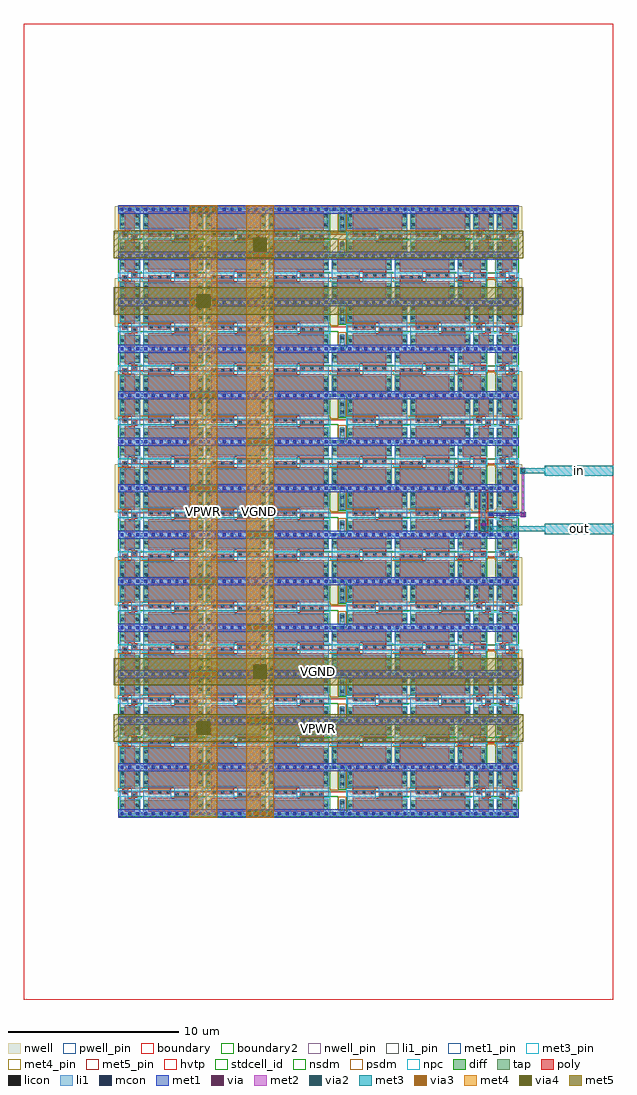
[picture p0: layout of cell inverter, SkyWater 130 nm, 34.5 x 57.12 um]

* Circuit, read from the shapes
.subckt inverter VGND VPWR in out
XM1 VGND VPWR VGND VGND sky130_fd_pr__nfet_01v8 w=0.55 l=0.59 m=32
XM2 VGND VPWR VGND VGND sky130_fd_pr__nfet_01v8 w=0.55 l=2.89 m=65
XM3 VGND VPWR VGND VGND sky130_fd_pr__nfet_01v8 w=0.55 l=1.05 m=6
XM4 out in VGND VGND sky130_fd_pr__nfet_01v8 w=0.65 l=0.15 m=2
XM5 VPWR VGND VPWR VPWR sky130_fd_pr__pfet_01v8_hvt w=0.87 l=0.59 m=32
XM6 VPWR VGND VPWR VPWR sky130_fd_pr__pfet_01v8_hvt w=0.87 l=2.89 m=65
XM7 VPWR VGND VPWR VPWR sky130_fd_pr__pfet_01v8_hvt w=0.87 l=1.05 m=6
XM8 out in VPWR VPWR sky130_fd_pr__pfet_01v8_hvt w=1 l=0.15 m=2
.ends

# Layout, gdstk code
from math import pi, radians
import gdstk
lib = gdstk.Library(unit=1e-6, precision=1e-09)
def R(c, l, rs):  # rectangles x0, y0, x1, y1
    for r in rs: c.add(gdstk.rectangle(r[:2], r[2:], *l))
def A(c, l, x, y, w, h, nx, ny, dx, dy):  # array of equal rectangles
    R(c, l, [(x+i*dx, y+j*dy, x+i*dx+w, y+j*dy+h) for i in range(nx) for j in range(ny)])
def P(c, l, *ps):  # polygons
    for p in ps: c.add(gdstk.Polygon(p, *l))
nwell_pin = (64, 16)
nwell = (64, 20)
diff = (65, 20)
tap = (65, 44)
poly = (66, 20)
licon = (66, 44)
li1_pin = (67, 16)
li1 = (67, 20)
mcon = (67, 44)
met1_pin = (68, 16)
met1 = (68, 20)
via = (68, 44)
met2 = (69, 20)
via2 = (69, 44)
met3_pin = (70, 16)
met3 = (70, 20)
via3 = (70, 44)
met4_pin = (71, 16)
met4 = (71, 20)
via4 = (71, 44)
met5_pin = (72, 16)
met5 = (72, 20)
hvtp = (78, 44)
stdcell_id = (81, 4)
nsdm = (93, 44)
psdm = (94, 20)
npc = (95, 20)
pwell_pin = (122, 16)
boundary = (235, 4)
boundary2 = (236, 0)

via_via5_6_1600_1600_1_1 = lib.new_cell('VIA_via5_6_1600_1600_1_1_1600_1600')
R(via_via5_6_1600_1600_1_1, met4, [(-0.8,-0.59,0.8,0.59)])
R(via_via5_6_1600_1600_1_1, via4, [(-0.4,-0.4,0.4,0.4)])
R(via_via5_6_1600_1600_1_1, met5, [(-0.71,-0.8,0.71,0.8)])

via_via4_5_1600_480_1_4_ = lib.new_cell('VIA_via4_5_1600_480_1_4_400_400')
R(via_via4_5_1600_480_1_4_, met3, [(-0.79,-0.16,0.79,0.16)])
A(via_via4_5_1600_480_1_4_, via3, -0.7, -0.1, 0.2, 0.2, 4, 1, 0.4, 0)
R(via_via4_5_1600_480_1_4_, met4, [(-0.8,-0.165,0.8,0.165)])

via_via3_4_1600_480_1_4_ = lib.new_cell('VIA_via3_4_1600_480_1_4_400_400')
R(via_via3_4_1600_480_1_4_, met2, [(-0.74,-0.185,0.74,0.185)])
A(via_via3_4_1600_480_1_4_, via2, -0.7, -0.1, 0.2, 0.2, 4, 1, 0.4, 0)
R(via_via3_4_1600_480_1_4_, met3, [(-0.765,-0.165,0.765,0.165)])

via_via2_3_1600_480_1_5_ = lib.new_cell('VIA_via2_3_1600_480_1_5_320_320')
R(via_via2_3_1600_480_1_5_, met1, [(-0.8,-0.24,0.8,0.24)])
A(via_via2_3_1600_480_1_5_, via, -0.715, -0.075, 0.15, 0.15, 5, 1, 0.32, 0)
R(via_via2_3_1600_480_1_5_, met2, [(-0.77,-0.16,0.77,0.16)])

via_l1m1_pr_mr = lib.new_cell('VIA_L1M1_PR_MR')
R(via_l1m1_pr_mr, li1, [(-0.085,-0.085,0.085,0.085)])
R(via_l1m1_pr_mr, mcon, [(-0.085,-0.085,0.085,0.085)])
R(via_l1m1_pr_mr, met1, [(-0.145,-0.115,0.145,0.115)])

via_m1m2_pr = lib.new_cell('VIA_M1M2_PR')
R(via_m1m2_pr, met1, [(-0.16,-0.13,0.16,0.13)])
R(via_m1m2_pr, via, [(-0.075,-0.075,0.075,0.075)])
R(via_m1m2_pr, met2, [(-0.13,-0.16,0.13,0.16)])

via_m2m3_pr = lib.new_cell('VIA_M2M3_PR')
R(via_m2m3_pr, met2, [(-0.14,-0.185,0.14,0.185)])
R(via_m2m3_pr, via2, [(-0.1,-0.1,0.1,0.1)])
R(via_m2m3_pr, met3, [(-0.165,-0.165,0.165,0.165)])

sky130_fd_sc_hd__decap_8 = lib.new_cell('sky130_fd_sc_hd__decap_8')
R(sky130_fd_sc_hd__decap_8, nwell_pin, [(0.145,2.635,0.315,2.805)])
R(sky130_fd_sc_hd__decap_8, nwell, [(-0.19,1.305,3.87,2.91)])
R(sky130_fd_sc_hd__decap_8, diff, [(0.135,0.235,3.545,0.785), (0.135,1.615,3.545,2.485)])
P(sky130_fd_sc_hd__decap_8, poly, [(0.395,1.125),(0.395,2.615),(3.285,2.615),(3.285,1.485),(1.715,1.485),(1.715,1.125)],
  [(0.395,0.105),(0.395,0.915),(1.925,0.915),(1.925,1.275),(3.285,1.275),(3.285,0.105)])
A(sky130_fd_sc_hd__decap_8, licon, 2.005, 1.025, 0.17, 0.17, 3, 1, 0.515, 0)
A(sky130_fd_sc_hd__decap_8, licon, 0.475, 1.205, 0.17, 0.17, 3, 1, 0.495, 0)
R(sky130_fd_sc_hd__decap_8, licon, [(0.175,0.39,0.345,0.56), (3.335,0.39,3.505,0.56), (0.175,1.745,0.345,1.915), (3.335,1.745,3.505,1.915), (0.175,2.255,0.345,2.425), (3.335,2.255,3.505,2.425)])
P(sky130_fd_sc_hd__decap_8, li1, [(0,-0.085),(0,0.085),(0.085,0.085),(0.085,1.375),(1.735,1.375),(1.735,0.855),(3.595,0.855),(3.595,0.085),(3.68,0.085),(3.68,-0.085)],
  [(1.905,1.025),(1.905,1.545),(0.085,1.545),(0.085,2.635),(0,2.635),(0,2.805),(3.68,2.805),(3.68,2.635),(3.595,2.635),(3.595,1.025)])
A(sky130_fd_sc_hd__decap_8, mcon, 0.145, -0.085, 0.17, 0.17, 8, 2, 0.46, 2.72)
R(sky130_fd_sc_hd__decap_8, met1_pin, [(0.145,-0.085,0.315,0.085), (0.145,2.635,0.315,2.805)])
R(sky130_fd_sc_hd__decap_8, hvtp, [(0,1.25,3.68,2.72)])
R(sky130_fd_sc_hd__decap_8, stdcell_id, [(0,0,3.68,2.72)])
R(sky130_fd_sc_hd__decap_8, nsdm, [(0,-0.19,3.68,1.015)])
R(sky130_fd_sc_hd__decap_8, psdm, [(0,1.485,3.68,2.91)])
P(sky130_fd_sc_hd__decap_8, npc, [(1.905,0.925),(1.905,0.975),(0,0.975),(0,1.475),(1.735,1.475),(1.735,1.345),(3.68,1.345),(3.68,0.925)])
R(sky130_fd_sc_hd__decap_8, pwell_pin, [(0.145,-0.085,0.315,0.085)])
R(sky130_fd_sc_hd__decap_8, boundary2, [(0,0,3.68,2.72)])
sky130_fd_sc_hd__decap_8.add(gdstk.FlexPath([(0,2.72),(3.68,2.72)], 0.48, ends="flush", simple_path=True, layer=68, datatype=20))  # met1
sky130_fd_sc_hd__decap_8.add(gdstk.FlexPath([(0,0),(3.68,0)], 0.48, ends="flush", simple_path=True, layer=68, datatype=20))  # met1
sky130_fd_sc_hd__decap_8.add(gdstk.Label('VPWR', (0.23,2.72), layer=68, texttype=5))
sky130_fd_sc_hd__decap_8.add(gdstk.Label('VGND', (0.23,0), layer=68, texttype=5))
sky130_fd_sc_hd__decap_8.add(gdstk.Label('VPB', (0.23,2.72), layer=64, texttype=5))
sky130_fd_sc_hd__decap_8.add(gdstk.Label('VNB', (0.23,0), layer=64, texttype=59))
sky130_fd_sc_hd__decap_8.add(gdstk.Label('decap_8', (0,0), layer=83, texttype=44))

sky130_fd_sc_hd__fill_1 = lib.new_cell('sky130_fd_sc_hd__fill_1')
R(sky130_fd_sc_hd__fill_1, nwell_pin, [(0.155,2.67,0.255,2.755)])
R(sky130_fd_sc_hd__fill_1, nwell, [(-0.19,1.305,0.65,2.91)])
R(sky130_fd_sc_hd__fill_1, mcon, [(0.145,-0.085,0.315,0.085), (0.145,2.635,0.315,2.805)])
R(sky130_fd_sc_hd__fill_1, met1_pin, [(0.11,-0.065,0.29,0.08), (0.11,2.635,0.29,2.785)])
R(sky130_fd_sc_hd__fill_1, hvtp, [(0,1.25,0.46,2.72)])
R(sky130_fd_sc_hd__fill_1, stdcell_id, [(0,0,0.46,2.72)])
R(sky130_fd_sc_hd__fill_1, nsdm, [(0,-0.19,0.46,1.015)])
R(sky130_fd_sc_hd__fill_1, psdm, [(0,1.355,0.46,2.91)])
R(sky130_fd_sc_hd__fill_1, pwell_pin, [(0.14,-0.055,0.26,0.055)])
sky130_fd_sc_hd__fill_1.add(gdstk.FlexPath([(0,0),(0.46,0)], 0.17, ends="flush", simple_path=True, layer=67, datatype=20))  # li1
sky130_fd_sc_hd__fill_1.add(gdstk.FlexPath([(0,2.72),(0.46,2.72)], 0.17, ends="flush", simple_path=True, layer=67, datatype=20))  # li1
sky130_fd_sc_hd__fill_1.add(gdstk.FlexPath([(0,2.72),(0.46,2.72)], 0.48, ends="flush", simple_path=True, layer=68, datatype=20))  # met1
sky130_fd_sc_hd__fill_1.add(gdstk.FlexPath([(0,0),(0.46,0)], 0.48, ends="flush", simple_path=True, layer=68, datatype=20))  # met1
sky130_fd_sc_hd__fill_1.add(gdstk.Label('VPWR', (0.205,2.72), layer=68, texttype=5))
sky130_fd_sc_hd__fill_1.add(gdstk.Label('VGND', (0.205,0), layer=68, texttype=5))
sky130_fd_sc_hd__fill_1.add(gdstk.Label('VPB', (0.23,2.72), layer=64, texttype=5))
sky130_fd_sc_hd__fill_1.add(gdstk.Label('VNB', (0.23,0), layer=64, texttype=59))
sky130_fd_sc_hd__fill_1.add(gdstk.Label('fill_1', (0,0), layer=83, texttype=44))

sky130_fd_sc_hd__decap_3 = lib.new_cell('sky130_fd_sc_hd__decap_3')
R(sky130_fd_sc_hd__decap_3, nwell_pin, [(0.145,2.635,0.315,2.805)])
R(sky130_fd_sc_hd__decap_3, nwell, [(-0.19,1.305,1.57,2.91)])
R(sky130_fd_sc_hd__decap_3, diff, [(0.135,0.235,1.245,0.785), (0.135,1.615,1.245,2.485)])
P(sky130_fd_sc_hd__decap_3, poly, [(0.395,0.105),(0.395,0.915),(0.795,0.915),(0.795,1.255),(1.125,1.255),(1.125,0.925),(0.985,0.925),(0.985,0.105)],
  [(0.255,1.125),(0.255,1.455),(0.395,1.455),(0.395,2.615),(0.985,2.615),(0.985,1.465),(0.585,1.465),(0.585,1.125)])
R(sky130_fd_sc_hd__decap_3, licon, [(0.175,0.4,0.345,0.57), (1.035,0.4,1.205,0.57), (0.875,1.005,1.045,1.175), (0.335,1.205,0.505,1.375), (0.175,1.78,0.345,1.95), (1.035,1.78,1.205,1.95), (0.175,2.255,0.345,2.425), (1.035,2.255,1.205,2.425)])
P(sky130_fd_sc_hd__decap_3, li1, [(0.775,1.005),(0.775,1.545),(0.085,1.545),(0.085,2.635),(0,2.635),(0,2.805),(1.38,2.805),(1.38,2.635),(1.295,2.635),(1.295,1.005)],
  [(0,-0.085),(0,0.085),(0.085,0.085),(0.085,1.375),(0.605,1.375),(0.605,0.835),(1.295,0.835),(1.295,0.085),(1.38,0.085),(1.38,-0.085)])
A(sky130_fd_sc_hd__decap_3, mcon, 0.145, -0.085, 0.17, 0.17, 3, 2, 0.46, 2.72)
R(sky130_fd_sc_hd__decap_3, met1_pin, [(0.145,-0.085,0.315,0.085), (0.145,2.635,0.315,2.805)])
R(sky130_fd_sc_hd__decap_3, hvtp, [(0,1.25,1.38,2.72)])
R(sky130_fd_sc_hd__decap_3, stdcell_id, [(0,0,1.38,2.72)])
R(sky130_fd_sc_hd__decap_3, nsdm, [(0,-0.19,1.38,1.015)])
R(sky130_fd_sc_hd__decap_3, psdm, [(0,1.485,1.38,2.91)])
P(sky130_fd_sc_hd__decap_3, npc, [(0.775,0.905),(0.775,0.975),(0,0.975),(0,1.475),(0.605,1.475),(0.605,1.345),(1.38,1.345),(1.38,0.905)])
R(sky130_fd_sc_hd__decap_3, pwell_pin, [(0.145,-0.085,0.315,0.085)])
R(sky130_fd_sc_hd__decap_3, boundary2, [(0,0,1.38,2.72)])
sky130_fd_sc_hd__decap_3.add(gdstk.FlexPath([(0,2.72),(1.38,2.72)], 0.48, ends="flush", simple_path=True, layer=68, datatype=20))  # met1
sky130_fd_sc_hd__decap_3.add(gdstk.FlexPath([(0,0),(1.38,0)], 0.48, ends="flush", simple_path=True, layer=68, datatype=20))  # met1
sky130_fd_sc_hd__decap_3.add(gdstk.Label('VPWR', (0.23,2.72), layer=68, texttype=5))
sky130_fd_sc_hd__decap_3.add(gdstk.Label('VGND', (0.23,0), layer=68, texttype=5))
sky130_fd_sc_hd__decap_3.add(gdstk.Label('VPB', (0.23,2.72), layer=64, texttype=5))
sky130_fd_sc_hd__decap_3.add(gdstk.Label('VNB', (0.23,0), layer=64, texttype=59))
sky130_fd_sc_hd__decap_3.add(gdstk.Label('decap_3', (0,0), layer=83, texttype=44))

sky130_fd_sc_hd__tapvpwr = lib.new_cell('sky130_fd_sc_hd__tapvpwrvgnd_1')
R(sky130_fd_sc_hd__tapvpwr, nwell, [(-0.19,1.305,0.65,2.91)])
R(sky130_fd_sc_hd__tapvpwr, tap, [(0.145,0.32,0.315,0.845), (0.145,1.525,0.315,2.4)])
R(sky130_fd_sc_hd__tapvpwr, licon, [(0.145,0.555,0.315,0.725), (0.145,1.645,0.315,1.815), (0.145,2.11,0.315,2.28)])
R(sky130_fd_sc_hd__tapvpwr, li1, [(0,-0.085,0.46,0.085), (0.085,0,0.375,0.81), (0.085,1.47,0.375,2.72), (0,2.635,0.46,2.805)])
R(sky130_fd_sc_hd__tapvpwr, mcon, [(0.145,-0.085,0.315,0.085), (0.145,2.635,0.315,2.805)])
R(sky130_fd_sc_hd__tapvpwr, met1_pin, [(0.105,-0.09,0.36,0.1), (0.11,2.62,0.375,2.765)])
R(sky130_fd_sc_hd__tapvpwr, met1, [(0,-0.24,0.46,0.24), (0,2.48,0.46,2.96)])
R(sky130_fd_sc_hd__tapvpwr, hvtp, [(0,1.25,0.46,2.72)])
R(sky130_fd_sc_hd__tapvpwr, stdcell_id, [(0,0,0.46,2.72)])
R(sky130_fd_sc_hd__tapvpwr, nsdm, [(0,-0.19,0.46,0.19), (0,1.395,0.46,2.53)])
R(sky130_fd_sc_hd__tapvpwr, psdm, [(0,0.19,0.46,0.975), (0,2.53,0.46,2.91)])
sky130_fd_sc_hd__tapvpwr.add(gdstk.Label('VPWR', (0.23,2.72), layer=68, texttype=5))
sky130_fd_sc_hd__tapvpwr.add(gdstk.Label('VGND', (0.23,0), layer=68, texttype=5))
sky130_fd_sc_hd__tapvpwr.add(gdstk.Label('tapvpwrvgnd_1', (0,0), layer=83, texttype=44))

sky130_fd_sc_hd__inv_2 = lib.new_cell('sky130_fd_sc_hd__inv_2')
R(sky130_fd_sc_hd__inv_2, nwell_pin, [(0.145,2.635,0.315,2.805)])
R(sky130_fd_sc_hd__inv_2, nwell, [(-0.19,1.305,1.57,2.91)])
R(sky130_fd_sc_hd__inv_2, diff, [(0.145,0.235,1.235,0.885), (0.145,1.485,1.235,2.485)])
P(sky130_fd_sc_hd__inv_2, poly, [(0.405,0.105),(0.405,0.995),(0.105,0.995),(0.105,1.325),(0.405,1.325),(0.405,2.615),(0.555,2.615),(0.555,1.325),(0.825,1.325),(0.825,2.615),(0.975,2.615),(0.975,0.105),(0.825,0.105),(0.825,0.995),(0.555,0.995),(0.555,0.105)])
A(sky130_fd_sc_hd__inv_2, licon, 0.185, 0.295, 0.17, 0.17, 3, 2, 0.42, 0.36)
A(sky130_fd_sc_hd__inv_2, licon, 0.185, 1.575, 0.17, 0.17, 3, 3, 0.42, 0.34)
R(sky130_fd_sc_hd__inv_2, licon, [(0.185,1.075,0.355,1.245)])
A(sky130_fd_sc_hd__inv_2, li1_pin, 0.605, 0.765, 0.17, 0.17, 1, 3, 0, 0.34)
R(sky130_fd_sc_hd__inv_2, li1_pin, [(0.145,1.105,0.315,1.275)])
R(sky130_fd_sc_hd__inv_2, li1, [(0.105,1.075,0.435,1.325)])
P(sky130_fd_sc_hd__inv_2, li1, [(0.125,1.495),(0.125,2.635),(0,2.635),(0,2.805),(1.38,2.805),(1.38,2.635),(1.235,2.635),(1.235,1.495),(1.025,1.495),(1.025,2.635),(0.355,2.635),(0.355,1.495)],
  [(0.525,0.255),(0.525,0.885),(0.605,0.885),(0.605,1.485),(0.525,1.485),(0.525,2.465),(0.855,2.465),(0.855,0.255)],
  [(0,-0.085),(0,0.085),(0.125,0.085),(0.125,0.905),(0.355,0.905),(0.355,0.085),(1.025,0.085),(1.025,0.905),(1.235,0.905),(1.235,0.085),(1.38,0.085),(1.38,-0.085)])
A(sky130_fd_sc_hd__inv_2, mcon, 0.145, -0.085, 0.17, 0.17, 3, 2, 0.46, 2.72)
R(sky130_fd_sc_hd__inv_2, met1_pin, [(0.145,-0.085,0.315,0.085), (0.145,2.635,0.315,2.805)])
R(sky130_fd_sc_hd__inv_2, hvtp, [(0,1.25,1.38,2.72)])
R(sky130_fd_sc_hd__inv_2, stdcell_id, [(0,0,1.38,2.72)])
R(sky130_fd_sc_hd__inv_2, nsdm, [(0,-0.19,1.38,1.015)])
R(sky130_fd_sc_hd__inv_2, psdm, [(0,1.355,1.38,2.91)])
R(sky130_fd_sc_hd__inv_2, npc, [(0,0.975,1.38,1.345)])
R(sky130_fd_sc_hd__inv_2, pwell_pin, [(0.145,-0.085,0.315,0.085)])
R(sky130_fd_sc_hd__inv_2, boundary2, [(0,0,1.38,2.72)])
sky130_fd_sc_hd__inv_2.add(gdstk.FlexPath([(0,2.72),(1.38,2.72)], 0.48, ends="flush", simple_path=True, layer=68, datatype=20))  # met1
sky130_fd_sc_hd__inv_2.add(gdstk.FlexPath([(0,0),(1.38,0)], 0.48, ends="flush", simple_path=True, layer=68, datatype=20))  # met1
sky130_fd_sc_hd__inv_2.add(gdstk.Label('A', (0.23,1.19), layer=67, texttype=5))
sky130_fd_sc_hd__inv_2.add(gdstk.Label('Y', (0.69,0.85), layer=67, texttype=5))
sky130_fd_sc_hd__inv_2.add(gdstk.Label('Y', (0.69,1.53), layer=67, texttype=5))
sky130_fd_sc_hd__inv_2.add(gdstk.Label('Y', (0.69,1.19), layer=67, texttype=5))
sky130_fd_sc_hd__inv_2.add(gdstk.Label('VPWR', (0.23,2.72), layer=68, texttype=5))
sky130_fd_sc_hd__inv_2.add(gdstk.Label('VGND', (0.23,0), layer=68, texttype=5))
sky130_fd_sc_hd__inv_2.add(gdstk.Label('VPB', (0.23,2.72), layer=64, texttype=5))
sky130_fd_sc_hd__inv_2.add(gdstk.Label('VNB', (0.23,0), layer=64, texttype=59))
sky130_fd_sc_hd__inv_2.add(gdstk.Label('inv_2', (0,0), layer=83, texttype=44))

sky130_fd_sc_hd__decap_4 = lib.new_cell('sky130_fd_sc_hd__decap_4')
R(sky130_fd_sc_hd__decap_4, nwell_pin, [(0.145,2.635,0.315,2.805)])
R(sky130_fd_sc_hd__decap_4, nwell, [(-0.19,1.305,2.03,2.91)])
R(sky130_fd_sc_hd__decap_4, diff, [(0.135,0.235,1.705,0.785), (0.135,1.615,1.705,2.485)])
P(sky130_fd_sc_hd__decap_4, poly, [(0.105,1.125),(0.105,1.455),(0.395,1.455),(0.395,2.615),(1.445,2.615),(1.445,1.485),(0.815,1.485),(0.815,1.125)],
  [(0.395,0.105),(0.395,0.915),(1.025,0.915),(1.025,1.275),(1.735,1.275),(1.735,0.945),(1.445,0.945),(1.445,0.105)])
R(sky130_fd_sc_hd__decap_4, licon, [(0.175,0.425,0.345,0.595), (1.495,0.425,1.665,0.595), (1.485,1.025,1.655,1.195), (0.185,1.205,0.355,1.375), (0.175,1.745,0.345,1.915), (1.495,1.745,1.665,1.915), (0.175,2.255,0.345,2.425), (1.495,2.255,1.665,2.425)])
P(sky130_fd_sc_hd__decap_4, li1, [(1.005,1.025),(1.005,1.545),(0.085,1.545),(0.085,2.635),(0,2.635),(0,2.805),(1.84,2.805),(1.84,2.635),(1.755,2.635),(1.755,1.025)],
  [(0,-0.085),(0,0.085),(0.085,0.085),(0.085,1.375),(0.835,1.375),(0.835,0.855),(1.755,0.855),(1.755,0.085),(1.84,0.085),(1.84,-0.085)])
A(sky130_fd_sc_hd__decap_4, mcon, 0.145, -0.085, 0.17, 0.17, 4, 2, 0.46, 2.72)
R(sky130_fd_sc_hd__decap_4, met1_pin, [(0.145,-0.085,0.315,0.085), (0.145,2.635,0.315,2.805)])
R(sky130_fd_sc_hd__decap_4, hvtp, [(0,1.25,1.84,2.72)])
R(sky130_fd_sc_hd__decap_4, stdcell_id, [(0,0,1.84,2.72)])
R(sky130_fd_sc_hd__decap_4, nsdm, [(0,-0.19,1.84,1.015)])
R(sky130_fd_sc_hd__decap_4, psdm, [(0,1.485,1.84,2.91)])
P(sky130_fd_sc_hd__decap_4, npc, [(1.385,0.925),(1.385,0.975),(0,0.975),(0,1.475),(0.455,1.475),(0.455,1.345),(1.84,1.345),(1.84,0.925)])
R(sky130_fd_sc_hd__decap_4, pwell_pin, [(0.145,-0.085,0.315,0.085)])
R(sky130_fd_sc_hd__decap_4, boundary2, [(0,0,1.84,2.72)])
sky130_fd_sc_hd__decap_4.add(gdstk.FlexPath([(0,2.72),(1.84,2.72)], 0.48, ends="flush", simple_path=True, layer=68, datatype=20))  # met1
sky130_fd_sc_hd__decap_4.add(gdstk.FlexPath([(0,0),(1.84,0)], 0.48, ends="flush", simple_path=True, layer=68, datatype=20))  # met1
sky130_fd_sc_hd__decap_4.add(gdstk.Label('VGND', (0.23,0), layer=68, texttype=5))
sky130_fd_sc_hd__decap_4.add(gdstk.Label('VPWR', (0.23,2.72), layer=68, texttype=5))
sky130_fd_sc_hd__decap_4.add(gdstk.Label('VPB', (0.23,2.72), layer=64, texttype=5))
sky130_fd_sc_hd__decap_4.add(gdstk.Label('VNB', (0.23,0), layer=64, texttype=59))
sky130_fd_sc_hd__decap_4.add(gdstk.Label('decap_4', (0,0), layer=83, texttype=44))

inverter = lib.new_cell('inverter')
R(inverter, met3_pin, [(30.5,27.24,34.5,27.84), (30.5,30.64,34.5,31.24)])
R(inverter, met3, [(30.5,27.24,34.5,27.84), (30.5,30.64,34.5,31.24)])
R(inverter, met4_pin, [(9.72,10.64,11.32,46.48), (13.02,10.64,14.62,46.48)])
R(inverter, met4, [(9.72,10.64,11.32,46.48), (13.02,10.64,14.62,46.48)])
R(inverter, met5_pin, [(5.28,15.08,29.22,16.68), (5.28,18.38,29.22,19.98), (5.28,40.08,29.22,41.68), (5.28,43.38,29.22,44.98)])
R(inverter, met5, [(5.28,15.08,29.22,16.68), (5.28,18.38,29.22,19.98), (5.28,40.08,29.22,41.68), (5.28,43.38,29.22,44.98)])
R(inverter, boundary, [(0,0,34.5,57.12)])
inverter.add(gdstk.FlexPath([(5.52,43.52),(28.98,43.52)], 0.48, ends="flush", simple_path=True, layer=68, datatype=20))  # met1
inverter.add(gdstk.FlexPath([(5.52,38.08),(28.98,38.08)], 0.48, ends="flush", simple_path=True, layer=68, datatype=20))  # met1
inverter.add(gdstk.FlexPath([(5.52,32.64),(28.98,32.64)], 0.48, ends="flush", simple_path=True, layer=68, datatype=20))  # met1
inverter.add(gdstk.FlexPath([(5.52,27.2),(28.98,27.2)], 0.48, ends="flush", simple_path=True, layer=68, datatype=20))  # met1
inverter.add(gdstk.FlexPath([(5.52,21.76),(28.98,21.76)], 0.48, ends="flush", simple_path=True, layer=68, datatype=20))  # met1
inverter.add(gdstk.FlexPath([(5.52,16.32),(28.98,16.32)], 0.48, ends="flush", simple_path=True, layer=68, datatype=20))  # met1
inverter.add(gdstk.FlexPath([(5.52,10.88),(28.98,10.88)], 0.48, ends="flush", simple_path=True, layer=68, datatype=20))  # met1
inverter.add(gdstk.FlexPath([(5.52,46.24),(28.98,46.24)], 0.48, ends="flush", simple_path=True, layer=68, datatype=20))  # met1
inverter.add(gdstk.FlexPath([(5.52,40.8),(28.98,40.8)], 0.48, ends="flush", simple_path=True, layer=68, datatype=20))  # met1
inverter.add(gdstk.FlexPath([(5.52,35.36),(28.98,35.36)], 0.48, ends="flush", simple_path=True, layer=68, datatype=20))  # met1
inverter.add(gdstk.FlexPath([(5.52,29.92),(28.98,29.92)], 0.48, ends="flush", simple_path=True, layer=68, datatype=20))  # met1
inverter.add(gdstk.FlexPath([(5.52,24.48),(28.98,24.48)], 0.48, ends="flush", simple_path=True, layer=68, datatype=20))  # met1
inverter.add(gdstk.FlexPath([(5.52,19.04),(28.98,19.04)], 0.48, ends="flush", simple_path=True, layer=68, datatype=20))  # met1
inverter.add(gdstk.FlexPath([(5.52,13.6),(28.98,13.6)], 0.48, ends="flush", simple_path=True, layer=68, datatype=20))  # met1
inverter.add(gdstk.FlexPath([(27.37,28.39),(29.21,28.39)], 0.14, ends="extended", simple_path=True, layer=68, datatype=20))  # met1
inverter.add(gdstk.FlexPath([(13.05,43.52),(14.59,43.52)], 0.37, ends="flush", simple_path=True, layer=69, datatype=20))  # met2
inverter.add(gdstk.FlexPath([(13.05,38.08),(14.59,38.08)], 0.37, ends="flush", simple_path=True, layer=69, datatype=20))  # met2
inverter.add(gdstk.FlexPath([(13.05,32.64),(14.59,32.64)], 0.37, ends="flush", simple_path=True, layer=69, datatype=20))  # met2
inverter.add(gdstk.FlexPath([(13.05,27.2),(14.59,27.2)], 0.37, ends="flush", simple_path=True, layer=69, datatype=20))  # met2
inverter.add(gdstk.FlexPath([(13.05,21.76),(14.59,21.76)], 0.37, ends="flush", simple_path=True, layer=69, datatype=20))  # met2
inverter.add(gdstk.FlexPath([(13.05,16.32),(14.59,16.32)], 0.37, ends="flush", simple_path=True, layer=69, datatype=20))  # met2
inverter.add(gdstk.FlexPath([(13.05,10.88),(14.59,10.88)], 0.37, ends="flush", simple_path=True, layer=69, datatype=20))  # met2
inverter.add(gdstk.FlexPath([(9.75,46.24),(11.29,46.24)], 0.37, ends="flush", simple_path=True, layer=69, datatype=20))  # met2
inverter.add(gdstk.FlexPath([(9.75,40.8),(11.29,40.8)], 0.37, ends="flush", simple_path=True, layer=69, datatype=20))  # met2
inverter.add(gdstk.FlexPath([(9.75,35.36),(11.29,35.36)], 0.37, ends="flush", simple_path=True, layer=69, datatype=20))  # met2
inverter.add(gdstk.FlexPath([(9.75,29.92),(11.29,29.92)], 0.37, ends="flush", simple_path=True, layer=69, datatype=20))  # met2
inverter.add(gdstk.FlexPath([(9.75,24.48),(11.29,24.48)], 0.37, ends="flush", simple_path=True, layer=69, datatype=20))  # met2
inverter.add(gdstk.FlexPath([(9.75,19.04),(11.29,19.04)], 0.37, ends="flush", simple_path=True, layer=69, datatype=20))  # met2
inverter.add(gdstk.FlexPath([(9.75,13.6),(11.29,13.6)], 0.37, ends="flush", simple_path=True, layer=69, datatype=20))  # met2
inverter.add(gdstk.FlexPath([(29.21,28.39),(29.21,30.94)], 0.14, ends="extended", simple_path=True, layer=69, datatype=20))  # met2
inverter.add(gdstk.FlexPath([(26.91,27.54),(26.91,27.71)], 0.14, ends="extended", simple_path=True, layer=69, datatype=20))  # met2
inverter.add(gdstk.FlexPath([(13.03,43.52),(14.61,43.52)], 0.33, ends="flush", simple_path=True, layer=70, datatype=20))  # met3
inverter.add(gdstk.FlexPath([(13.03,38.08),(14.61,38.08)], 0.33, ends="flush", simple_path=True, layer=70, datatype=20))  # met3
inverter.add(gdstk.FlexPath([(13.03,32.64),(14.61,32.64)], 0.33, ends="flush", simple_path=True, layer=70, datatype=20))  # met3
inverter.add(gdstk.FlexPath([(13.03,27.2),(14.61,27.2)], 0.33, ends="flush", simple_path=True, layer=70, datatype=20))  # met3
inverter.add(gdstk.FlexPath([(13.03,21.76),(14.61,21.76)], 0.33, ends="flush", simple_path=True, layer=70, datatype=20))  # met3
inverter.add(gdstk.FlexPath([(13.03,16.32),(14.61,16.32)], 0.33, ends="flush", simple_path=True, layer=70, datatype=20))  # met3
inverter.add(gdstk.FlexPath([(13.03,10.88),(14.61,10.88)], 0.33, ends="flush", simple_path=True, layer=70, datatype=20))  # met3
inverter.add(gdstk.FlexPath([(9.73,46.24),(11.31,46.24)], 0.33, ends="flush", simple_path=True, layer=70, datatype=20))  # met3
inverter.add(gdstk.FlexPath([(9.73,40.8),(11.31,40.8)], 0.33, ends="flush", simple_path=True, layer=70, datatype=20))  # met3
inverter.add(gdstk.FlexPath([(9.73,35.36),(11.31,35.36)], 0.33, ends="flush", simple_path=True, layer=70, datatype=20))  # met3
inverter.add(gdstk.FlexPath([(9.73,29.92),(11.31,29.92)], 0.33, ends="flush", simple_path=True, layer=70, datatype=20))  # met3
inverter.add(gdstk.FlexPath([(9.73,24.48),(11.31,24.48)], 0.33, ends="flush", simple_path=True, layer=70, datatype=20))  # met3
inverter.add(gdstk.FlexPath([(9.73,19.04),(11.31,19.04)], 0.33, ends="flush", simple_path=True, layer=70, datatype=20))  # met3
inverter.add(gdstk.FlexPath([(9.73,13.6),(11.31,13.6)], 0.33, ends="flush", simple_path=True, layer=70, datatype=20))  # met3
inverter.add(gdstk.FlexPath([(29.21,30.94),(30.82,30.94)], 0.3, ends=(0.15, 0), simple_path=True, layer=70, datatype=20))  # met3
inverter.add(gdstk.FlexPath([(26.91,27.54),(30.82,27.54)], 0.3, ends=(0.15, 0), simple_path=True, layer=70, datatype=20))  # met3
inverter.add(gdstk.FlexPath([(13.82,10.64),(13.82,46.48)], 1.6, ends="flush", simple_path=True, layer=71, datatype=20))  # met4
inverter.add(gdstk.FlexPath([(10.52,10.64),(10.52,46.48)], 1.6, ends="flush", simple_path=True, layer=71, datatype=20))  # met4
inverter.add(gdstk.FlexPath([(5.28,44.18),(29.22,44.18)], 1.6, ends="flush", simple_path=True, layer=72, datatype=20))  # met5
inverter.add(gdstk.FlexPath([(5.28,19.18),(29.22,19.18)], 1.6, ends="flush", simple_path=True, layer=72, datatype=20))  # met5
inverter.add(gdstk.FlexPath([(5.28,40.88),(29.22,40.88)], 1.6, ends="flush", simple_path=True, layer=72, datatype=20))  # met5
inverter.add(gdstk.FlexPath([(5.28,15.88),(29.22,15.88)], 1.6, ends="flush", simple_path=True, layer=72, datatype=20))  # met5
inverter.add(gdstk.Reference(via_via5_6_1600_1600_1_1, (13.82,44.18)))
inverter.add(gdstk.Reference(via_via5_6_1600_1600_1_1, (13.82,19.18)))
inverter.add(gdstk.Reference(via_via5_6_1600_1600_1_1, (10.52,40.88)))
inverter.add(gdstk.Reference(via_via5_6_1600_1600_1_1, (10.52,15.88)))
inverter.add(gdstk.Reference(via_via4_5_1600_480_1_4_, (10.52,46.24)))
inverter.add(gdstk.Reference(via_via4_5_1600_480_1_4_, (13.82,43.52)))
inverter.add(gdstk.Reference(via_via4_5_1600_480_1_4_, (13.82,38.08)))
inverter.add(gdstk.Reference(via_via4_5_1600_480_1_4_, (13.82,32.64)))
inverter.add(gdstk.Reference(via_via4_5_1600_480_1_4_, (13.82,27.2)))
inverter.add(gdstk.Reference(via_via4_5_1600_480_1_4_, (13.82,21.76)))
inverter.add(gdstk.Reference(via_via4_5_1600_480_1_4_, (13.82,16.32)))
inverter.add(gdstk.Reference(via_via4_5_1600_480_1_4_, (13.82,10.88)))
inverter.add(gdstk.Reference(via_via4_5_1600_480_1_4_, (10.52,40.8)))
inverter.add(gdstk.Reference(via_via4_5_1600_480_1_4_, (10.52,35.36)))
inverter.add(gdstk.Reference(via_via4_5_1600_480_1_4_, (10.52,29.92)))
inverter.add(gdstk.Reference(via_via4_5_1600_480_1_4_, (10.52,24.48)))
inverter.add(gdstk.Reference(via_via4_5_1600_480_1_4_, (10.52,13.6)))
inverter.add(gdstk.Reference(via_via4_5_1600_480_1_4_, (10.52,19.04)))
inverter.add(gdstk.Reference(via_via3_4_1600_480_1_4_, (10.52,29.92)))
inverter.add(gdstk.Reference(via_via3_4_1600_480_1_4_, (13.82,43.52)))
inverter.add(gdstk.Reference(via_via3_4_1600_480_1_4_, (13.82,38.08)))
inverter.add(gdstk.Reference(via_via3_4_1600_480_1_4_, (13.82,32.64)))
inverter.add(gdstk.Reference(via_via3_4_1600_480_1_4_, (13.82,27.2)))
inverter.add(gdstk.Reference(via_via3_4_1600_480_1_4_, (10.52,13.6)))
inverter.add(gdstk.Reference(via_via3_4_1600_480_1_4_, (13.82,21.76)))
inverter.add(gdstk.Reference(via_via3_4_1600_480_1_4_, (13.82,16.32)))
inverter.add(gdstk.Reference(via_via3_4_1600_480_1_4_, (13.82,10.88)))
inverter.add(gdstk.Reference(via_via3_4_1600_480_1_4_, (10.52,19.04)))
inverter.add(gdstk.Reference(via_via3_4_1600_480_1_4_, (10.52,46.24)))
inverter.add(gdstk.Reference(via_via3_4_1600_480_1_4_, (10.52,35.36)))
inverter.add(gdstk.Reference(via_via3_4_1600_480_1_4_, (10.52,40.8)))
inverter.add(gdstk.Reference(via_via3_4_1600_480_1_4_, (10.52,24.48)))
inverter.add(gdstk.Reference(via_via2_3_1600_480_1_5_, (13.82,10.88)))
inverter.add(gdstk.Reference(via_via2_3_1600_480_1_5_, (10.52,29.92)))
inverter.add(gdstk.Reference(via_via2_3_1600_480_1_5_, (13.82,43.52)))
inverter.add(gdstk.Reference(via_via2_3_1600_480_1_5_, (10.52,35.36)))
inverter.add(gdstk.Reference(via_via2_3_1600_480_1_5_, (13.82,38.08)))
inverter.add(gdstk.Reference(via_via2_3_1600_480_1_5_, (13.82,32.64)))
inverter.add(gdstk.Reference(via_via2_3_1600_480_1_5_, (10.52,13.6)))
inverter.add(gdstk.Reference(via_via2_3_1600_480_1_5_, (13.82,27.2)))
inverter.add(gdstk.Reference(via_via2_3_1600_480_1_5_, (10.52,40.8)))
inverter.add(gdstk.Reference(via_via2_3_1600_480_1_5_, (13.82,21.76)))
inverter.add(gdstk.Reference(via_via2_3_1600_480_1_5_, (10.52,24.48)))
inverter.add(gdstk.Reference(via_via2_3_1600_480_1_5_, (10.52,46.24)))
inverter.add(gdstk.Reference(via_via2_3_1600_480_1_5_, (13.82,16.32)))
inverter.add(gdstk.Reference(via_via2_3_1600_480_1_5_, (10.52,19.04)))
inverter.add(gdstk.Reference(via_l1m1_pr_mr, (27.37,28.39)))
inverter.add(gdstk.Reference(via_l1m1_pr_mr, (26.91,27.71)))
inverter.add(gdstk.Reference(via_m1m2_pr, (29.21,28.39)))
inverter.add(gdstk.Reference(via_m1m2_pr, (26.91,27.71)))
inverter.add(gdstk.Reference(via_m2m3_pr, (26.91,27.54)))
inverter.add(gdstk.Reference(via_m2m3_pr, (29.21,30.94)))
inverter.add(gdstk.Reference(sky130_fd_sc_hd__decap_8, (14.26,32.64)))
inverter.add(gdstk.Reference(sky130_fd_sc_hd__decap_8, (14.26,16.32)))
inverter.add(gdstk.Reference(sky130_fd_sc_hd__decap_8, (14.26,43.52)))
inverter.add(gdstk.Reference(sky130_fd_sc_hd__decap_8, (22.54,27.2)))
inverter.add(gdstk.Reference(sky130_fd_sc_hd__decap_8, (6.9,27.2)))
inverter.add(gdstk.Reference(sky130_fd_sc_hd__decap_8, (18.86,27.2)))
inverter.add(gdstk.Reference(sky130_fd_sc_hd__decap_8, (14.26,27.2)))
inverter.add(gdstk.Reference(sky130_fd_sc_hd__decap_8, (10.58,27.2)))
inverter.add(gdstk.Reference(sky130_fd_sc_hd__decap_8, (14.26,10.88)))
inverter.add(gdstk.Reference(sky130_fd_sc_hd__decap_8, (14.26,38.08)))
inverter.add(gdstk.Reference(sky130_fd_sc_hd__decap_8, (14.26,21.76)))
inverter.add(gdstk.Reference(sky130_fd_sc_hd__decap_8, (14.26,43.52), x_reflection=True))
inverter.add(gdstk.Reference(sky130_fd_sc_hd__decap_8, (14.26,32.64), x_reflection=True))
inverter.add(gdstk.Reference(sky130_fd_sc_hd__decap_8, (14.26,27.2), x_reflection=True))
inverter.add(gdstk.Reference(sky130_fd_sc_hd__decap_8, (14.26,21.76), x_reflection=True))
inverter.add(gdstk.Reference(sky130_fd_sc_hd__decap_8, (14.26,16.32), x_reflection=True))
inverter.add(gdstk.Reference(sky130_fd_sc_hd__decap_8, (14.26,38.08), x_reflection=True))
inverter.add(gdstk.Reference(sky130_fd_sc_hd__fill_1, (17.94,27.2)))
inverter.add(gdstk.Reference(sky130_fd_sc_hd__decap_3, (5.52,27.2)))
inverter.add(gdstk.Reference(sky130_fd_sc_hd__decap_3, (28.98,27.2), rotation=pi, x_reflection=True))
inverter.add(gdstk.Reference(sky130_fd_sc_hd__tapvpwr, (18.4,27.2)))
inverter.add(gdstk.Reference(sky130_fd_sc_hd__inv_2, (27.6,27.2), rotation=pi, x_reflection=True))
inverter.add(gdstk.Reference(sky130_fd_sc_hd__decap_8, (17.94,32.64), x_reflection=True))
inverter.add(gdstk.Reference(sky130_fd_sc_hd__decap_8, (22.54,32.64)))
inverter.add(gdstk.Reference(sky130_fd_sc_hd__decap_8, (21.62,43.52), x_reflection=True))
inverter.add(gdstk.Reference(sky130_fd_sc_hd__decap_8, (21.62,38.08), x_reflection=True))
inverter.add(gdstk.Reference(sky130_fd_sc_hd__decap_8, (21.62,32.64), x_reflection=True))
inverter.add(gdstk.Reference(sky130_fd_sc_hd__decap_8, (17.94,38.08), x_reflection=True))
inverter.add(gdstk.Reference(sky130_fd_sc_hd__decap_8, (22.54,43.52)))
inverter.add(gdstk.Reference(sky130_fd_sc_hd__fill_1, (17.94,32.64)))
inverter.add(gdstk.Reference(sky130_fd_sc_hd__fill_1, (17.94,43.52)))
inverter.add(gdstk.Reference(sky130_fd_sc_hd__decap_8, (17.94,43.52), x_reflection=True))
inverter.add(gdstk.Reference(sky130_fd_sc_hd__fill_1, (17.94,38.08)))
inverter.add(gdstk.Reference(sky130_fd_sc_hd__fill_1, (27.14,38.08), x_reflection=True))
inverter.add(gdstk.Reference(sky130_fd_sc_hd__fill_1, (27.14,43.52), x_reflection=True))
inverter.add(gdstk.Reference(sky130_fd_sc_hd__fill_1, (27.14,32.64), x_reflection=True))
inverter.add(gdstk.Reference(sky130_fd_sc_hd__decap_3, (26.22,38.08)))
inverter.add(gdstk.Reference(sky130_fd_sc_hd__decap_3, (26.22,32.64)))
inverter.add(gdstk.Reference(sky130_fd_sc_hd__decap_8, (18.86,43.52)))
inverter.add(gdstk.Reference(sky130_fd_sc_hd__decap_3, (26.22,43.52)))
inverter.add(gdstk.Reference(sky130_fd_sc_hd__decap_3, (28.98,32.64), rotation=pi))
inverter.add(gdstk.Reference(sky130_fd_sc_hd__decap_3, (28.98,38.08), rotation=pi))
inverter.add(gdstk.Reference(sky130_fd_sc_hd__decap_3, (28.98,43.52), rotation=pi))
inverter.add(gdstk.Reference(sky130_fd_sc_hd__decap_3, (28.98,32.64), rotation=pi, x_reflection=True))
inverter.add(gdstk.Reference(sky130_fd_sc_hd__decap_3, (28.98,38.08), rotation=pi, x_reflection=True))
inverter.add(gdstk.Reference(sky130_fd_sc_hd__decap_3, (28.98,43.52), rotation=pi, x_reflection=True))
inverter.add(gdstk.Reference(sky130_fd_sc_hd__decap_8, (22.54,38.08)))
inverter.add(gdstk.Reference(sky130_fd_sc_hd__decap_4, (25.3,38.08), x_reflection=True))
inverter.add(gdstk.Reference(sky130_fd_sc_hd__decap_4, (25.3,43.52), x_reflection=True))
inverter.add(gdstk.Reference(sky130_fd_sc_hd__decap_4, (25.3,32.64), x_reflection=True))
inverter.add(gdstk.Reference(sky130_fd_sc_hd__tapvpwr, (18.4,32.64)))
inverter.add(gdstk.Reference(sky130_fd_sc_hd__decap_8, (18.86,38.08)))
inverter.add(gdstk.Reference(sky130_fd_sc_hd__tapvpwr, (18.4,43.52)))
inverter.add(gdstk.Reference(sky130_fd_sc_hd__tapvpwr, (18.4,38.08)))
inverter.add(gdstk.Reference(sky130_fd_sc_hd__decap_8, (18.86,32.64)))
inverter.add(gdstk.Reference(sky130_fd_sc_hd__decap_8, (10.58,38.08), x_reflection=True))
inverter.add(gdstk.Reference(sky130_fd_sc_hd__decap_8, (6.9,43.52), x_reflection=True))
inverter.add(gdstk.Reference(sky130_fd_sc_hd__decap_8, (6.9,43.52)))
inverter.add(gdstk.Reference(sky130_fd_sc_hd__decap_3, (5.52,38.08), x_reflection=True))
inverter.add(gdstk.Reference(sky130_fd_sc_hd__decap_3, (5.52,43.52), x_reflection=True))
inverter.add(gdstk.Reference(sky130_fd_sc_hd__decap_3, (5.52,32.64), x_reflection=True))
inverter.add(gdstk.Reference(sky130_fd_sc_hd__decap_8, (6.9,32.64)))
inverter.add(gdstk.Reference(sky130_fd_sc_hd__decap_8, (10.58,32.64)))
inverter.add(gdstk.Reference(sky130_fd_sc_hd__decap_8, (10.58,43.52)))
inverter.add(gdstk.Reference(sky130_fd_sc_hd__decap_8, (10.58,43.52), x_reflection=True))
inverter.add(gdstk.Reference(sky130_fd_sc_hd__decap_8, (6.9,32.64), x_reflection=True))
inverter.add(gdstk.Reference(sky130_fd_sc_hd__decap_8, (6.9,38.08), x_reflection=True))
inverter.add(gdstk.Reference(sky130_fd_sc_hd__decap_3, (5.52,43.52)))
inverter.add(gdstk.Reference(sky130_fd_sc_hd__decap_8, (10.58,38.08)))
inverter.add(gdstk.Reference(sky130_fd_sc_hd__decap_8, (10.58,32.64), x_reflection=True))
inverter.add(gdstk.Reference(sky130_fd_sc_hd__decap_3, (5.52,38.08)))
inverter.add(gdstk.Reference(sky130_fd_sc_hd__decap_3, (5.52,32.64)))
inverter.add(gdstk.Reference(sky130_fd_sc_hd__decap_8, (6.9,38.08)))
inverter.add(gdstk.Reference(sky130_fd_sc_hd__decap_3, (5.52,21.76), x_reflection=True))
inverter.add(gdstk.Reference(sky130_fd_sc_hd__decap_8, (6.9,10.88)))
inverter.add(gdstk.Reference(sky130_fd_sc_hd__decap_3, (5.52,16.32), x_reflection=True))
inverter.add(gdstk.Reference(sky130_fd_sc_hd__decap_3, (5.52,27.2), x_reflection=True))
inverter.add(gdstk.Reference(sky130_fd_sc_hd__decap_8, (6.9,27.2), x_reflection=True))
inverter.add(gdstk.Reference(sky130_fd_sc_hd__decap_8, (10.58,21.76)))
inverter.add(gdstk.Reference(sky130_fd_sc_hd__decap_3, (5.52,16.32)))
inverter.add(gdstk.Reference(sky130_fd_sc_hd__decap_8, (10.58,27.2), x_reflection=True))
inverter.add(gdstk.Reference(sky130_fd_sc_hd__decap_8, (6.9,21.76), x_reflection=True))
inverter.add(gdstk.Reference(sky130_fd_sc_hd__decap_8, (10.58,16.32)))
inverter.add(gdstk.Reference(sky130_fd_sc_hd__decap_8, (6.9,16.32), x_reflection=True))
inverter.add(gdstk.Reference(sky130_fd_sc_hd__decap_8, (10.58,21.76), x_reflection=True))
inverter.add(gdstk.Reference(sky130_fd_sc_hd__decap_8, (10.58,10.88)))
inverter.add(gdstk.Reference(sky130_fd_sc_hd__decap_3, (5.52,10.88)))
inverter.add(gdstk.Reference(sky130_fd_sc_hd__decap_3, (5.52,21.76)))
inverter.add(gdstk.Reference(sky130_fd_sc_hd__decap_8, (6.9,16.32)))
inverter.add(gdstk.Reference(sky130_fd_sc_hd__decap_8, (10.58,16.32), x_reflection=True))
inverter.add(gdstk.Reference(sky130_fd_sc_hd__decap_8, (6.9,21.76)))
inverter.add(gdstk.Reference(sky130_fd_sc_hd__decap_3, (28.98,21.76), rotation=pi))
inverter.add(gdstk.Reference(sky130_fd_sc_hd__decap_3, (28.98,27.2), rotation=pi))
inverter.add(gdstk.Reference(sky130_fd_sc_hd__decap_8, (17.94,27.2), x_reflection=True))
inverter.add(gdstk.Reference(sky130_fd_sc_hd__decap_3, (28.98,16.32), rotation=pi))
inverter.add(gdstk.Reference(sky130_fd_sc_hd__fill_1, (17.94,10.88)))
inverter.add(gdstk.Reference(sky130_fd_sc_hd__fill_1, (27.14,16.32), x_reflection=True))
inverter.add(gdstk.Reference(sky130_fd_sc_hd__decap_8, (22.54,21.76)))
inverter.add(gdstk.Reference(sky130_fd_sc_hd__fill_1, (27.14,21.76), x_reflection=True))
inverter.add(gdstk.Reference(sky130_fd_sc_hd__decap_8, (18.86,16.32)))
inverter.add(gdstk.Reference(sky130_fd_sc_hd__decap_8, (21.62,21.76), x_reflection=True))
inverter.add(gdstk.Reference(sky130_fd_sc_hd__fill_1, (27.14,27.2), x_reflection=True))
inverter.add(gdstk.Reference(sky130_fd_sc_hd__decap_3, (26.22,10.88)))
inverter.add(gdstk.Reference(sky130_fd_sc_hd__decap_3, (28.98,16.32), rotation=pi, x_reflection=True))
inverter.add(gdstk.Reference(sky130_fd_sc_hd__decap_8, (18.86,21.76)))
inverter.add(gdstk.Reference(sky130_fd_sc_hd__decap_3, (28.98,10.88), rotation=pi, x_reflection=True))
inverter.add(gdstk.Reference(sky130_fd_sc_hd__decap_8, (17.94,21.76), x_reflection=True))
inverter.add(gdstk.Reference(sky130_fd_sc_hd__decap_8, (22.54,16.32)))
inverter.add(gdstk.Reference(sky130_fd_sc_hd__decap_3, (28.98,21.76), rotation=pi, x_reflection=True))
inverter.add(gdstk.Reference(sky130_fd_sc_hd__decap_8, (22.54,10.88)))
inverter.add(gdstk.Reference(sky130_fd_sc_hd__decap_4, (25.3,16.32), x_reflection=True))
inverter.add(gdstk.Reference(sky130_fd_sc_hd__decap_4, (25.3,21.76), x_reflection=True))
inverter.add(gdstk.Reference(sky130_fd_sc_hd__decap_8, (21.62,16.32), x_reflection=True))
inverter.add(gdstk.Reference(sky130_fd_sc_hd__decap_4, (25.3,27.2), x_reflection=True))
inverter.add(gdstk.Reference(sky130_fd_sc_hd__decap_3, (26.22,21.76)))
inverter.add(gdstk.Reference(sky130_fd_sc_hd__decap_3, (26.22,16.32)))
inverter.add(gdstk.Reference(sky130_fd_sc_hd__tapvpwr, (18.4,10.88)))
inverter.add(gdstk.Reference(sky130_fd_sc_hd__decap_8, (21.62,27.2), x_reflection=True))
inverter.add(gdstk.Reference(sky130_fd_sc_hd__decap_8, (17.94,16.32), x_reflection=True))
inverter.add(gdstk.Reference(sky130_fd_sc_hd__tapvpwr, (18.4,21.76)))
inverter.add(gdstk.Reference(sky130_fd_sc_hd__tapvpwr, (18.4,16.32)))
inverter.add(gdstk.Reference(sky130_fd_sc_hd__fill_1, (17.94,21.76)))
inverter.add(gdstk.Reference(sky130_fd_sc_hd__fill_1, (17.94,16.32)))
inverter.add(gdstk.Reference(sky130_fd_sc_hd__decap_8, (18.86,10.88)))
inverter.add(gdstk.Label('in', (32.5,30.94), layer=70, texttype=5))
inverter.add(gdstk.Label('out', (32.5,27.54), layer=70, texttype=5))
inverter.add(gdstk.Label('VGND', (13.82,28.56), layer=71, texttype=5))
inverter.add(gdstk.Label('VPWR', (10.52,28.56), layer=71, texttype=5))
inverter.add(gdstk.Label('VGND', (17.25,19.18), layer=72, texttype=5))
inverter.add(gdstk.Label('VPWR', (17.25,15.88), layer=72, texttype=5))

lib.write_gds('inverter.gds')
